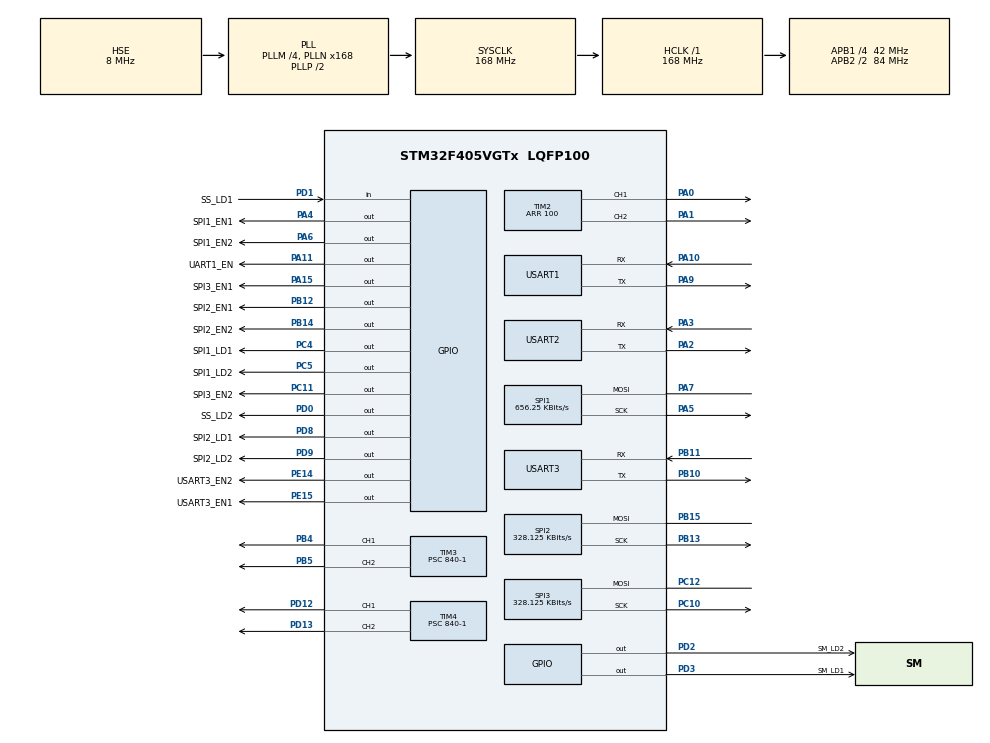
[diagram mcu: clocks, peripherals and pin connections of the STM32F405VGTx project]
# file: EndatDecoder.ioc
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Mcu.Family=STM32F4
Mcu.Name=STM32F405VGTx
Mcu.Package=LQFP100
NVIC.PriorityGroup=NVIC_PRIORITYGROUP_4
NVIC.SPI1_IRQn=true\:5\:0\:true\:false\:true\:true\:true
NVIC.SPI2_IRQn=true\:5\:0\:true\:false\:true\:true\:true
NVIC.TIM8_TRG_COM_TIM14_IRQn=true\:6\:0\:true\:false\:true\:true\:true
NVIC.TIM8_UP_TIM13_IRQn=true\:0\:0\:false\:false\:true\:true\:true
NVIC.USART1_IRQn=true\:10\:0\:true\:false\:true\:true\:true
NVIC.USART3_IRQn=true\:10\:0\:true\:false\:true\:true\:true
PA0-WKUP.Signal=S_TIM2_CH1_ETR
PA1.Signal=S_TIM2_CH2
PA10.Mode=Asynchronous
PA10.Signal=USART1_RX
PA11.GPIO_Label=UART1_EN
PA11.Signal=GPIO_Output
PA13.Mode=Trace_Asynchronous_SW
PA13.Signal=SYS_JTMS-SWDIO
PA14.Mode=Trace_Asynchronous_SW
PA14.Signal=SYS_JTCK-SWCLK
PA15.GPIO_Label=SPI3_EN1
PA15.Signal=GPIO_Output
PA2.Mode=Asynchronous
PA2.Signal=USART2_TX
PA3.Mode=Asynchronous
PA3.Signal=USART2_RX
PA4.GPIO_Label=SPI1_EN1
PA4.Signal=GPIO_Output
PA5.Mode=Simplex_Bidirectional_Master
PA5.Signal=SPI1_SCK
PA5.Stacked=true
PA6.GPIO_Label=SPI1_EN2
PA6.Signal=GPIO_Output
PA7.Mode=Simplex_Bidirectional_Master
PA7.Signal=SPI1_MOSI
PA9.Mode=Asynchronous
PA9.Signal=USART1_TX
PB10.Mode=Asynchronous
PB10.Signal=USART3_TX
PB11.Mode=Asynchronous
PB11.Signal=USART3_RX
PB12.GPIO_Label=SPI2_EN1
PB12.Signal=GPIO_Output
PB13.Mode=Simplex_Bidirectional_Master
PB13.Signal=SPI2_SCK
PB14.GPIO_Label=SPI2_EN2
PB14.Signal=GPIO_Output
PB15.Mode=Simplex_Bidirectional_Master
PB15.Signal=SPI2_MOSI
PB3.Mode=Trace_Asynchronous_SW
PB3.Signal=SYS_JTDO-SWO
PB4.Signal=S_TIM3_CH1
PB5.Signal=S_TIM3_CH2
PC10.Mode=Simplex_Bidirectional_Master
PC10.Signal=SPI3_SCK
PC11.GPIO_Label=SPI3_EN2
PC11.Signal=GPIO_Output
PC12.Mode=Simplex_Bidirectional_Master
PC12.Signal=SPI3_MOSI
PC4.GPIO_Label=SPI1_LD1
PC4.Signal=GPIO_Output
PC5.GPIO_Label=SPI1_LD2
PC5.Signal=GPIO_Output
PD0.GPIO_Label=SS_LD2
PD0.Signal=GPIO_Output
PD1.GPIO_Label=SS_LD1
PD1.Signal=GPIO_Input
PD12.Signal=S_TIM4_CH1
PD13.Signal=S_TIM4_CH2
PD2.GPIO_Label=SM_LD2
PD2.Signal=GPIO_Output
PD3.GPIO_Label=SM_LD1
PD3.Signal=GPIO_Output
PD8.GPIO_Label=SPI2_LD1
PD8.Signal=GPIO_Output
PD9.GPIO_Label=SPI2_LD2
PD9.Signal=GPIO_Output
PE14.GPIO_Label=USART3_EN2
PE14.Signal=GPIO_Output
PE15.GPIO_Label=USART3_EN1
PE15.Signal=GPIO_Output
PH0-OSC_IN.Mode=HSE-External-Oscillator
PH0-OSC_IN.Signal=RCC_OSC_IN
PH1-OSC_OUT.Mode=HSE-External-Oscillator
PH1-OSC_OUT.Signal=RCC_OSC_OUT
ProjectManager.HeapSize=0x200
ProjectManager.StackSize=0x400
ProjectManager.TargetToolchain=STM32CubeIDE
RCC.48MHZClocksFreq_Value=84000000
RCC.AHBFreq_Value=168000000
RCC.APB1CLKDivider=RCC_HCLK_DIV4
RCC.APB1Freq_Value=42000000
RCC.APB1TimFreq_Value=84000000
RCC.APB2CLKDivider=RCC_HCLK_DIV2
RCC.APB2Freq_Value=84000000
RCC.APB2TimFreq_Value=168000000
RCC.CortexFreq_Value=168000000
RCC.HCLKFreq_Value=168000000
RCC.HSE_VALUE=8000000
RCC.HSI_VALUE=16000000
RCC.LSE_VALUE=32768
RCC.PLLM=4
RCC.PLLN=168
RCC.PLLSourceVirtual=RCC_PLLSOURCE_HSE
RCC.SYSCLKFreq_VALUE=168000000
RCC.SYSCLKSource=RCC_SYSCLKSOURCE_PLLCLK
RCC.VCOOutputFreq_Value=336000000
SH.S_TIM2_CH1_ETR.0=TIM2_CH1,Output Compare1 CH1
SH.S_TIM2_CH2.0=TIM2_CH2,Output Compare2 CH2
SH.S_TIM3_CH1.0=TIM3_CH1,Output Compare1 CH1
SH.S_TIM3_CH2.0=TIM3_CH2,Output Compare2 CH2
SH.S_TIM4_CH1.0=TIM4_CH1,Output Compare1 CH1
SH.S_TIM4_CH2.0=TIM4_CH2,Output Compare2 CH2
SPI1.BaudRatePrescaler=SPI_BAUDRATEPRESCALER_128
SPI1.CLKPhase=SPI_PHASE_2EDGE
SPI1.CLKPolarity=SPI_POLARITY_HIGH
SPI1.CalculateBaudRate=656.25 KBits/s
SPI1.Direction=SPI_DIRECTION_1LINE
SPI1.Mode=SPI_MODE_MASTER
SPI1.VirtualType=VM_MASTER
SPI2.BaudRatePrescaler=SPI_BAUDRATEPRESCALER_128
SPI2.CLKPhase=SPI_PHASE_2EDGE
SPI2.CLKPolarity=SPI_POLARITY_HIGH
SPI2.CalculateBaudRate=328.125 KBits/s
SPI2.Direction=SPI_DIRECTION_1LINE
SPI2.Mode=SPI_MODE_MASTER
SPI2.VirtualType=VM_MASTER
SPI3.BaudRatePrescaler=SPI_BAUDRATEPRESCALER_128
SPI3.CLKPhase=SPI_PHASE_2EDGE
SPI3.CLKPolarity=SPI_POLARITY_HIGH
SPI3.CalculateBaudRate=328.125 KBits/s
SPI3.Direction=SPI_DIRECTION_1LINE
SPI3.Mode=SPI_MODE_MASTER
SPI3.VirtualType=VM_MASTER
TIM13.Prescaler=84
TIM14.Period=100
TIM14.Prescaler=84
TIM2.Channel-Output\ Compare1\ CH1=TIM_CHANNEL_1
TIM2.Channel-Output\ Compare2\ CH2=TIM_CHANNEL_2
TIM2.OCMode_1=TIM_OCMODE_TOGGLE
TIM2.OCMode_2=TIM_OCMODE_TOGGLE
TIM2.OCPolarity_1=TIM_OCPOLARITY_LOW
TIM2.OCPolarity_2=TIM_OCPOLARITY_HIGH
TIM2.Period=100
TIM2.Pulse-Output\ Compare1\ CH1=25
TIM2.Pulse-Output\ Compare2\ CH2=50
TIM3.Channel-Output\ Compare1\ CH1=TIM_CHANNEL_1
TIM3.Channel-Output\ Compare2\ CH2=TIM_CHANNEL_2
TIM3.OCMode_1=TIM_OCMODE_TOGGLE
TIM3.OCMode_2=TIM_OCMODE_TOGGLE
TIM3.OCPolarity_1=TIM_OCPOLARITY_LOW
TIM3.Period=100
TIM3.Prescaler=840-1
TIM3.Pulse-Output\ Compare1\ CH1=25
TIM3.Pulse-Output\ Compare2\ CH2=50
TIM4.Channel-Output\ Compare1\ CH1=TIM_CHANNEL_1
TIM4.Channel-Output\ Compare2\ CH2=TIM_CHANNEL_2
TIM4.OCMode_1=TIM_OCMODE_TOGGLE
TIM4.OCMode_2=TIM_OCMODE_TOGGLE
TIM4.OCPolarity_1=TIM_OCPOLARITY_LOW
TIM4.Period=100
TIM4.Prescaler=840-1
TIM4.Pulse-Output\ Compare1\ CH1=25
TIM4.Pulse-Output\ Compare2\ CH2=50
USART1.VirtualMode=VM_ASYNC
USART2.VirtualMode=VM_ASYNC
USART3.VirtualMode=VM_ASYNC
VP_TIM13_VS_ClockSourceINT.Mode=Enable_Timer
VP_TIM14_VS_ClockSourceINT.Mode=Enable_Timer
board=custom

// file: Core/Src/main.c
/* USER CODE BEGIN Header */
/**
  ******************************************************************************
  * @file           : main.c
  * @brief          : Main program body
  ******************************************************************************
  * @attention
  *
  * <h2><center>&copy; Copyright (c) 2021 STMicroelectronics.
  * All rights reserved.</center></h2>
  *
  * This software component is licensed by ST under BSD 3-Clause license,
  * the "License"; You may not use this file except in compliance with the
  * License. You may obtain a copy of the License at:
  *                        opensource.org/licenses/BSD-3-Clause
  *
  ******************************************************************************
  */
/* USER CODE END Header */
#include "main.h"
#include "spi.h"
#include "tim.h"
#include "usart.h"
#include "gpio.h"

void SystemClock_Config(void);

int main(void)
{

  /* MCU Configuration--------------------------------------------------------*/

  /* Reset of all peripherals, Initializes the Flash interface and the Systick. */
  HAL_Init();

  /* Configure the system clock */
  SystemClock_Config();

  /* Initialize all configured peripherals */
  MX_GPIO_Init();
  MX_SPI1_Init();
  MX_SPI2_Init();
  MX_SPI3_Init();
  MX_TIM2_Init();
  MX_TIM3_Init();
  MX_TIM4_Init();
  MX_USART1_UART_Init();
  MX_USART2_UART_Init();
  MX_USART3_UART_Init();
  MX_TIM13_Init();
  MX_TIM14_Init();
  /* USER CODE BEGIN 2 */

  SEGGER_SYSVIEW_Conf();

  uint8_t data[] = {0,1,2,3,4,5,6,7,8,9,10,11,12};

  uint8_t txData[10];
  uint8_t rxData[10];
  txData[0] = 0b00011100;
  uint32_t abc = 0;

  HAL_GPIO_WritePin(SPI1_EN2_GPIO_Port, SPI1_EN2_Pin, GPIO_PIN_SET);	// set clk  rr485 to tx
  HAL_GPIO_WritePin(SPI2_EN2_GPIO_Port, SPI2_EN2_Pin, GPIO_PIN_SET);	// set clk  rr485 to tx

  HAL_TIM_Base_Start_IT(&htim14);

  HAL_TIM_Base_Start(&htim3);
  HAL_TIM_OC_Start_IT(&htim3, TIM_CHANNEL_1);
  HAL_TIM_OC_Start_IT(&htim3, TIM_CHANNEL_2);

  HAL_TIM_Base_Start(&htim4);
  HAL_TIM_OC_Start_IT(&htim4, TIM_CHANNEL_1);
  HAL_TIM_OC_Start_IT(&htim4, TIM_CHANNEL_2);

uint16_t i = 100;
while(1){

//	__HAL_TIM_SET_PRESCALER(&htim4, i++);
	__HAL_TIM_SET_COMPARE(&htim4,TIM_CHANNEL_1, i / 4);
	__HAL_TIM_SET_COMPARE(&htim4,TIM_CHANNEL_2, (3 * i / 4) );
	__HAL_TIM_SET_AUTORELOAD(&htim4, i );

	i= i + 100;

	HAL_Delay(2);
}

  /* USER CODE END 2 */

  /* Infinite loop */
  while (1)
  {

  }
}

void SystemClock_Config(void)
{
  RCC_OscInitTypeDef RCC_OscInitStruct = {0};
  RCC_ClkInitTypeDef RCC_ClkInitStruct = {0};

  /** Configure the main internal regulator output voltage
  */
  __HAL_RCC_PWR_CLK_ENABLE();
  __HAL_PWR_VOLTAGESCALING_CONFIG(PWR_REGULATOR_VOLTAGE_SCALE1);
  /** Initializes the RCC Oscillators according to the specified parameters
  * in the RCC_OscInitTypeDef structure.
  */
  RCC_OscInitStruct.OscillatorType = RCC_OSCILLATORTYPE_HSE;
  RCC_OscInitStruct.HSEState = RCC_HSE_ON;
  RCC_OscInitStruct.PLL.PLLState = RCC_PLL_ON;
  RCC_OscInitStruct.PLL.PLLSource = RCC_PLLSOURCE_HSE;
  RCC_OscInitStruct.PLL.PLLM = 4;
  RCC_OscInitStruct.PLL.PLLN = 168;
  RCC_OscInitStruct.PLL.PLLP = RCC_PLLP_DIV2;
  RCC_OscInitStruct.PLL.PLLQ = 4;
  if (HAL_RCC_OscConfig(&RCC_OscInitStruct) != HAL_OK)
  {
    Error_Handler();
  }
  /** Initializes the CPU, AHB and APB buses clocks
  */
  RCC_ClkInitStruct.ClockType = RCC_CLOCKTYPE_HCLK|RCC_CLOCKTYPE_SYSCLK
                              |RCC_CLOCKTYPE_PCLK1|RCC_CLOCKTYPE_PCLK2;
  RCC_ClkInitStruct.SYSCLKSource = RCC_SYSCLKSOURCE_PLLCLK;
  RCC_ClkInitStruct.AHBCLKDivider = RCC_SYSCLK_DIV1;
  RCC_ClkInitStruct.APB1CLKDivider = RCC_HCLK_DIV4;
  RCC_ClkInitStruct.APB2CLKDivider = RCC_HCLK_DIV2;

  if (HAL_RCC_ClockConfig(&RCC_ClkInitStruct, FLASH_LATENCY_5) != HAL_OK)
  {
    Error_Handler();
  }
}

void Error_Handler(void)
{
  __disable_irq();
  while (1)
  {
  }
}
